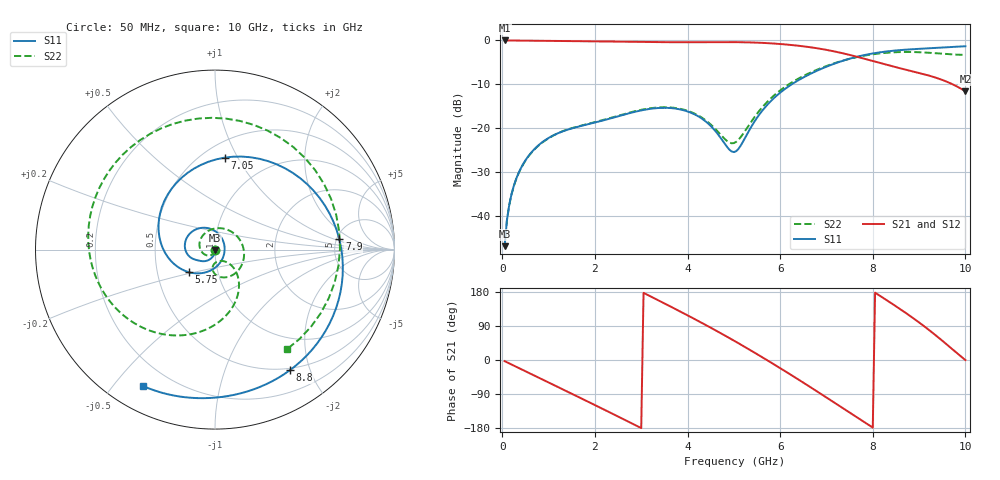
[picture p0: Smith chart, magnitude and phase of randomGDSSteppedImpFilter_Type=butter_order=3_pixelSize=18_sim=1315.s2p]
! freq	dB(S11)	phase(S11)	dB(S12)	phase(S12)
!  dB(S21)	phase(S21)	dB(S22)	phase(S22)
!S-par simulation data
#  GHz  S  DB  R 50
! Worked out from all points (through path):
!   200 points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, 50 MHz to 10 GHz, reference 50 ohm
!   highest |S21| = -0.01 dB at 50 MHz (marker M1); lowest = -11.6 dB at 10 GHz (marker M2)
!   group delay of S21, straight-line fit = 196 ps
!   lowest |S11| = -46.8 dB at 50 MHz (marker M3), VSWR 1.01, Z = 50 - j0.457 ohm
!   |S11| at or under -10 dB: start of sweep to 6.247 GHz
!   |S22| runs from -46.8 to -2.6 dB; largest |S21 - S12| = 0
!   S11 on the Smith chart (normalised r, x): 50 MHz: 1.00, -0.01; 5.75 GHz: 0.73, -0.19; 7.05 GHz: 0.63, +0.88; 7.9 GHz: 5.30, +1.17; 8.8 GHz: 0.47, -1.70; 10 GHz: 0.10, -0.60
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0.05  -46.79 -85.9  -0.01 -3.0  -0.01 -3.0  -46.80 -88.3
0.1  -40.88 -90.9  -0.01 -6.0  -0.01 -6.0  -40.94 -95.1
0.2  -34.92 -96.3  -0.02 -11.9  -0.02 -11.9  -35.00 -104.9
0.5  -27.28 -109.0  -0.05 -29.7  -0.05 -29.7  -27.34 -130.7
1.15  -21.35 -131.3  -0.11 -68.2  -0.11 -68.2  -21.37 172.4
1.75  -19.32 -145.4  -0.18 -103.9  -0.18 -103.9  -19.26 115.5
2.65  -16.82 -162.9  -0.29 -158.3  -0.29 -158.3  -16.68 25.4
3.4  -15.36 168.8  -0.39 155.6  -0.39 155.6  -15.23 -37.3
4.3  -17.71 111.7  -0.40 98.5  -0.40 98.5  -17.50 -91.1
5.05  -25.20 -19.2  -0.39 47.7  -0.39 47.7  -23.08 -63.9
5.75  -14.33 -139.1  -0.63 -2.8  -0.63 -2.8  -13.67 -51.1
6.3  -9.65 162.3  -1.10 -44.3  -1.10 -44.3  -9.24 -75.0
6.7  -7.36 120.3  -1.62 -75.3  -1.62 -75.3  -7.10 -95.0
7.05  -5.76 84.1  -2.25 -102.9  -2.25 -102.9  -5.62 -113.9
7.45  -4.31 44.6  -3.17 -134.8  -3.17 -134.8  -4.31 -137.7
7.9  -3.16 4.7  -4.40 -170.5  -4.40 -170.5  -3.31 -168.0
8.35  -2.44 -29.4  -5.68 153.9  -5.68 153.9  -2.77 156.7
8.8  -2.04 -58.1  -6.88 116.8  -6.88 116.8  -2.63 113.8
9.15  -1.82 -77.2  -7.81 85.3  -7.81 85.3  -2.76 72.7
9.5  -1.62 -94.4  -8.98 51.0  -8.98 51.0  -3.03 23.5
9.75  -1.46 -106.1  -10.11 25.3  -10.11 25.3  -3.21 -15.3
10  -1.32 -117.7  -11.56 -0.3  -11.56 -0.3  -3.29 -54.2
